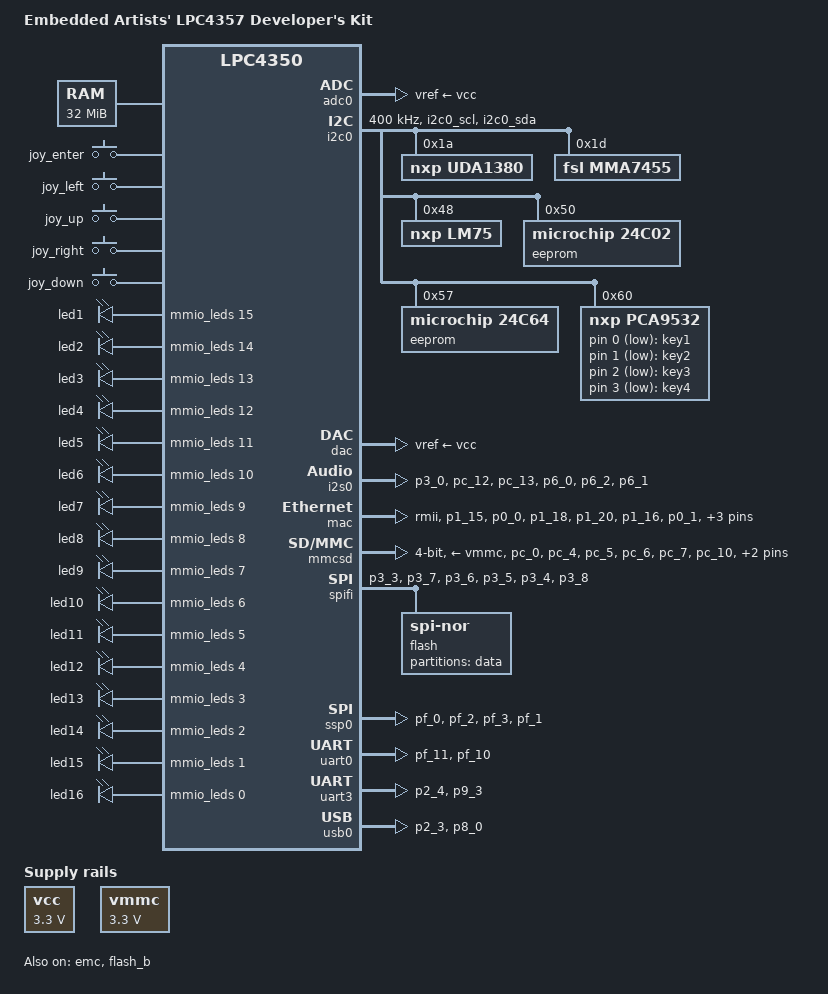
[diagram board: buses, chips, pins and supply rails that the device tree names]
/*
 * Embedded Artist LPC4357 Developer's Kit
 *
 * Copyright 2015 Joachim Eastwood <manabian@gmail.com>
 *
 * This code is released using a dual license strategy: BSD/GPL
 * You can choose the licence that better fits your requirements.
 *
 * Released under the terms of 3-clause BSD License
 * Released under the terms of GNU General Public License Version 2.0
 *
 */
/dts-v1/;

#include "lpc18xx.dtsi"
#include "lpc4357.dtsi"

#include "dt-bindings/input/input.h"
#include "dt-bindings/interrupt-controller/irq.h"
#include "dt-bindings/gpio/gpio.h"
#include "dt-bindings/leds/leds-pca9532.h"

/ {
	model = "Embedded Artists' LPC4357 Developer's Kit";
	compatible = "ea,lpc4357-developers-kit", "nxp,lpc4357", "nxp,lpc4350";

	aliases {
		serial0 = &uart0;
		serial1 = &uart1;
		serial2 = &uart2;
		serial3 = &uart3;
	};

	chosen {
		bootargs = "console=ttyS0,115200 earlyprintk initrd=0x28d00000,2M root=/dev/ram0 init=/linuxrc";
		stdout-path = &uart0;
	};

	memory@28000000 {
		device_type = "memory";
		reg = <0x28000000 0x2000000>; /* 32 MB */
	};

	vcc: vcc_fixed {
		compatible = "regulator-fixed";
		regulator-name = "3v3-supply";
		regulator-min-microvolt = <3300000>;
		regulator-max-microvolt = <3300000>;
	};

	/* vmmc is controlled by sdmmc host internally */
	vmmc: vmmc_fixed {
		compatible = "regulator-fixed";
		regulator-name = "vmmc-supply";
		regulator-min-microvolt = <3300000>;
		regulator-max-microvolt = <3300000>;
	};

	gpio_keys {
		compatible = "gpio-keys-polled";
		#address-cells = <1>;
		#size-cells = <0>;
		poll-interval = <100>;
		autorepeat;

		key1 {
			label = "key1";
			linux,code = <KEY_1>;
			gpios = <&pca9532 0 GPIO_ACTIVE_LOW>;
		};

		key2 {
			label = "key2";
			linux,code = <KEY_2>;
			gpios = <&pca9532 1 GPIO_ACTIVE_LOW>;
		};

		key3 {
			label = "key3";
			linux,code = <KEY_3>;
			gpios = <&pca9532 2 GPIO_ACTIVE_LOW>;
		};

		key4 {
			label = "key4";
			linux,code = <KEY_4>;
			gpios = <&pca9532 3 GPIO_ACTIVE_LOW>;
		};
	};

	gpio_joystick {
		compatible = "gpio-keys";
		pinctrl-names = "default";
		pinctrl-0 = <&gpio_joystick_pins>;
		poll-interval = <100>;
		autorepeat;

		button0 {
			label = "joy_enter";
			linux,code = <KEY_ENTER>;
/*			gpios = <&gpio LPC_GPIO(4,8) GPIO_ACTIVE_LOW>;*/
			interrupt-parent = <&nvic>;
			interrupts = <34 IRQ_TYPE_EDGE_FALLING>;
		};

		button1 {
			label = "joy_left";
			linux,code = <KEY_LEFT>;
/*			gpios = <&gpio LPC_GPIO(4,9) GPIO_ACTIVE_LOW>;*/
			interrupt-parent = <&nvic>;
			interrupts = <35 IRQ_TYPE_EDGE_FALLING>;
		};

		button2 {
			label = "joy_up";
			linux,code = <KEY_UP>;
/*			gpios = <&gpio LPC_GPIO(4,10) GPIO_ACTIVE_LOW>;*/
			interrupt-parent = <&nvic>;
			interrupts = <36 IRQ_TYPE_EDGE_FALLING>;
		};

		button3 {
			label = "joy_right";
			linux,code = <KEY_RIGHT>;
/*			gpios = <&gpio LPC_GPIO(4,12) GPIO_ACTIVE_LOW>;*/
			interrupt-parent = <&nvic>;
			interrupts = <32 IRQ_TYPE_EDGE_FALLING>;
		};

		button4 {
			label = "joy_down";
			linux,code = <KEY_DOWN>;
/*			gpios = <&gpio LPC_GPIO(4,13) GPIO_ACTIVE_LOW>;*/
			interrupt-parent = <&nvic>;
			interrupts = <33 IRQ_TYPE_EDGE_FALLING>;
		};
	};

	leds_mmio {
		compatible = "gpio-leds";

		led1 {
			gpios = <&mmio_leds 15 GPIO_ACTIVE_HIGH>;
			linux,default-trigger = "heartbeat";
		};

		led2 {
			gpios = <&mmio_leds 14 GPIO_ACTIVE_HIGH>;
		};

		led3 {
			gpios = <&mmio_leds 13 GPIO_ACTIVE_HIGH>;
		};

		led4 {
			gpios = <&mmio_leds 12 GPIO_ACTIVE_HIGH>;
		};

		led5 {
			gpios = <&mmio_leds 11 GPIO_ACTIVE_HIGH>;
		};

		led6 {
			gpios = <&mmio_leds 10 GPIO_ACTIVE_HIGH>;
		};

		led7 {
			gpios = <&mmio_leds 9 GPIO_ACTIVE_HIGH>;
		};

		led8 {
			gpios = <&mmio_leds 8 GPIO_ACTIVE_HIGH>;
		};

		led9 {
			gpios = <&mmio_leds 7 GPIO_ACTIVE_HIGH>;
		};

		led10 {
			gpios = <&mmio_leds 6 GPIO_ACTIVE_HIGH>;
		};

		led11 {
			gpios = <&mmio_leds 5 GPIO_ACTIVE_HIGH>;
		};

		led12 {
			gpios = <&mmio_leds 4 GPIO_ACTIVE_HIGH>;
		};

		led13 {
			gpios = <&mmio_leds 3 GPIO_ACTIVE_HIGH>;
		};

		led14 {
			gpios = <&mmio_leds 2 GPIO_ACTIVE_HIGH>;
		};

		led15 {
			gpios = <&mmio_leds 1 GPIO_ACTIVE_HIGH>;
		};

		led16 {
			gpios = <&mmio_leds 0 GPIO_ACTIVE_HIGH>;
		};
	};
};

&pinctrl {
	emc_pins: emc-pins {
		emc_addr0_23_cfg {
			pins =	"p2_9",  "p2_10", "p2_11", "p2_12",
				"p2_13", "p1_0",  "p1_1",  "p1_2",
				"p2_8",  "p2_7",  "p2_6",  "p2_2",
				"p2_1",  "p2_0",  "p6_8",  "p6_7",
				"pd_16", "pd_15", "pe_0",  "pe_1",
				"pe_2",  "pe_3",  "pe_4",  "pa_4";
			function = "emc";
			slew-rate = <1>;
			bias-disable;
			input-enable;
			input-schmitt-disable;
		};

		emc_data0_31_cfg {
			pins =	"p1_7",  "p1_8",  "p1_9",  "p1_10",
				"p1_11", "p1_12", "p1_13", "p1_14",
				"p5_4",  "p5_5",  "p5_6",  "p5_7",
				"p5_0",  "p5_1",  "p5_2",  "p5_3",
				"pd_2",  "pd_3",  "pd_4",  "pd_5",
				"pd_6",  "pd_7",  "pd_8",  "pd_9",
				"pe_5",  "pe_6",  "pe_7",  "pe_8",
				"pe_9",  "pe_10", "pe_11", "pe_12";
			function = "emc";
			slew-rate = <1>;
			bias-disable;
			input-enable;
			input-schmitt-disable;
		};

		emc_we_oe_cfg {
			pins = "p1_6", "p1_3";
			function = "emc";
			slew-rate = <1>;
			bias-disable;
			input-enable;
			input-schmitt-disable;
		};

		emc_bls0_3_cfg {
			pins = "p1_4", "p6_6", "pd_13", "pd_10";
			function = "emc";
			slew-rate = <1>;
			bias-disable;
			input-enable;
			input-schmitt-disable;
		};

		emc_cs0_3_cfg {
			pins = "p1_5", "p6_3", "pd_12", "pd_11";
			function = "emc";
			slew-rate = <1>;
			bias-disable;
			input-enable;
			input-schmitt-disable;
		};

		emc_sdram_dqm0_3_cfg {
			pins = "p6_12", "p6_10", "pd_0", "pe_13";
			function = "emc";
			slew-rate = <1>;
			bias-disable;
			input-enable;
			input-schmitt-disable;
		};

		emc_sdram_ras_cas_cfg {
			pins = "p6_5", "p6_4";
			function = "emc";
			slew-rate = <1>;
			bias-disable;
			input-enable;
			input-schmitt-disable;
		};

		emc_sdram_dycs0_cfg {
			pins = "p6_9";
			function = "emc";
			slew-rate = <1>;
			bias-disable;
			input-enable;
			input-schmitt-disable;
		};

		emc_sdram_cke_cfg {
			pins = "p6_11";
			function = "emc";
			slew-rate = <1>;
			bias-disable;
			input-enable;
			input-schmitt-disable;
		};

		emc_sdram_clock_cfg {
			pins = "clk0", "clk1", "clk2", "clk3";
			function = "emc";
			slew-rate = <1>;
			bias-disable;
			input-enable;
			input-schmitt-disable;
		};
	};

	enet_rmii_pins: enet-rmii-pins {
		enet_rmii_rxd_cfg {
			pins = "p1_15", "p0_0";
			function = "enet";
			slew-rate = <1>;
			bias-disable;
			input-enable;
			input-schmitt-disable;
		};

		enet_rmii_txd_cfg {
			pins = "p1_18", "p1_20";
			function = "enet";
			slew-rate = <1>;
			bias-disable;
			input-enable;
			input-schmitt-disable;
		};

		enet_rmii_rx_dv_cfg {
			pins = "p1_16";
			function = "enet";
			bias-disable;
			input-enable;
			input-schmitt-disable;
		};

		enet_rmii_tx_en_cfg {
			pins = "p0_1";
			function = "enet";
			bias-disable;
			input-enable;
			input-schmitt-disable;
		};

		enet_ref_clk_cfg {
			pins = "p1_19";
			function = "enet";
			slew-rate = <1>;
			bias-disable;
			input-enable;
			input-schmitt-disable;
		};

		enet_mdio_cfg {
			pins = "p1_17";
			function = "enet";
			bias-disable;
			input-enable;
			input-schmitt-disable;
		};

		enet_mdc_cfg {
			pins = "pc_1";
			function = "enet";
			slew-rate = <1>;
			bias-disable;
			input-enable;
			input-schmitt-disable;
		};
	};

	gpio_joystick_pins: gpio-joystick-pins {
		gpio_joystick_1_cfg {
			pins =	"p9_0";
			function = "gpio";
			nxp,gpio-pin-interrupt = <0>;
			input-enable;
			bias-disable;
		};

		gpio_joystick_2_cfg {
			pins =	"p9_1";
			function = "gpio";
			nxp,gpio-pin-interrupt = <1>;
			input-enable;
			bias-disable;
		};

		gpio_joystick_3_cfg {
			pins =	"pa_1";
			function = "gpio";
			nxp,gpio-pin-interrupt = <2>;
			input-enable;
			bias-disable;
		};

		gpio_joystick_4_cfg {
			pins =	"pa_2";
			function = "gpio";
			nxp,gpio-pin-interrupt = <3>;
			input-enable;
			bias-disable;
		};

		gpio_joystick_5_cfg {
			pins =	"pa_3";
			function = "gpio";
			nxp,gpio-pin-interrupt = <4>;
			input-enable;
			bias-disable;
		};
	};

	i2c0_pins: i2c0-pins {
		i2c0_pins_cfg {
			pins = "i2c0_scl", "i2c0_sda";
			function = "i2c0";
			input-enable;
		};
	};

	i2s0_pins: i2s0-pins {
		i2s0_tx_sck_cfg {
			pins = "p3_0";
			function = "i2s0_tx_sck";
			slew-rate = <1>;
			bias-pull-down;
			input-enable;
			input-schmitt-disable;
		};

		i2s0_tx_sda_cfg {
			pins = "pc_12";
			function = "i2s0_tx_sda";
			slew-rate = <1>;
			bias-pull-down;
			input-enable;
			input-schmitt-disable;
		};

		i2s0_tx_ws_cfg {
			pins = "pc_13";
			function = "i2s0_tx_ws";
			slew-rate = <1>;
			bias-pull-down;
			input-enable;
			input-schmitt-disable;
		};

		i2s0_rx_sck_cfg {
			pins = "p6_0";
			function = "i2s0_rx_sck";
			slew-rate = <1>;
			bias-pull-down;
			input-enable;
			input-schmitt-disable;
		};

		i2s0_rx_sda_cfg {
			pins = "p6_2";
			function = "i2s0_rx_sda";
			slew-rate = <1>;
			bias-pull-down;
			input-enable;
			input-schmitt-disable;
		};

		i2s0_rx_ws_cfg {
			pins = "p6_1";
			function = "i2s0_rx_ws";
			slew-rate = <1>;
			bias-pull-down;
			input-enable;
			input-schmitt-disable;
		};
	};

	sdmmc_pins: sdmmc-pins {
		sdmmc_clk_cfg {
			pins = "pc_0";
			function = "sdmmc";
			slew-rate = <1>;
			bias-pull-down;
		};

		sdmmc_cmd_dat0_3_cfg {
			pins = "pc_4", "pc_5", "pc_6", "pc_7", "pc_10";
			function = "sdmmc";
			slew-rate = <1>;
			bias-disable;
			input-enable;
			input-schmitt-disable;
		};

		sdmmc_cd_cfg {
			pins = "pc_8";
			function = "sdmmc";
			bias-pull-down;
			input-enable;
		};

		sdmmc_pow_cfg {
			pins = "pc_9";
			function = "sdmmc";
			bias-pull-down;
		};
	};

	spifi_pins: spifi-pins {
		spifi_clk_cfg {
			pins = "p3_3";
			function = "spifi";
			slew-rate = <1>;
			bias-disable;
			input-enable;
			input-schmitt-disable;
		};

		spifi_mosi_miso_sio2_3_cfg {
			pins = "p3_7", "p3_6", "p3_5", "p3_4";
			function = "spifi";
			slew-rate = <0>;
			bias-disable;
			input-enable;
			input-schmitt-disable;
		};

		spifi_cs_cfg {
			pins = "p3_8";
			function = "spifi";
			bias-disable;
		};
	};

	ssp0_pins: ssp0-pins {
		ssp0_sck_miso_mosi {
			pins = "pf_0", "pf_2", "pf_3";
			function = "ssp0";
			slew-rate = <1>;
			bias-pull-down;
			input-enable;
			input-schmitt-disable;
		};

		ssp0_ssel {
			pins = "pf_1";
			function = "ssp0";
			bias-pull-up;
		};
	};

	uart0_pins: uart0-pins {
		uart0_rx_cfg {
			pins = "pf_11";
			function = "uart0";
			input-schmitt-disable;
			bias-disable;
			input-enable;
		};

		uart0_tx_cfg {
			pins = "pf_10";
			function = "uart0";
			bias-pull-down;
		};
	};

	uart3_pins: uart3-pins {
		uart3_rx_cfg {
			pins = "p2_4";
			function = "uart3";
			input-schmitt-disable;
			bias-disable;
			input-enable;
		};

		uart3_tx_cfg {
			pins = "p9_3";
			function = "uart3";
			bias-pull-down;
		};
	};

	usb0_pins: usb0-pins {
		usb0_pwr_enable {
			pins = "p2_3";
			function = "usb0";
		};

		usb0_pwr_fault {
			pins = "p8_0";
			function = "usb0";
			bias-disable;
			input-enable;
		};
	};
};

&adc0 {
	status = "okay";
	vref-supply = <&vcc>;
};

&i2c0 {
	status = "okay";
	pinctrl-names = "default";
	pinctrl-0 = <&i2c0_pins>;
	clock-frequency = <400000>;

	uda1380: uda1380@1a {
		compatible = "nxp,uda1380";
		reg = <0x1a>;
	};

	mma7455@1d {
		compatible = "fsl,mma7455";
		reg = <0x1d>;
	};

	lm75@48 {
		compatible = "nxp,lm75";
		reg = <0x48>;
	};

	eeprom@50 {
		/* microchip,24aa02e48 */
		compatible = "microchip,24c02";
		reg = <0x50>;
	};

	eeprom@57 {
		compatible = "microchip,24c64";
		reg = <0x57>;
	};

	pca9532: leds@60 {
		compatible = "nxp,pca9532";
		gpio-controller;
		reg = <0x60>;
		#address-cells = <1>;
		#size-cells = <0>;
		#gpio-cells = <2>;

		key1@0 {
			type = <PCA9532_TYPE_GPIO>;
			reg = <0>;
		};

		key2@1 {
			type = <PCA9532_TYPE_GPIO>;
			reg = <1>;
		};

		key3@2 {
			type = <PCA9532_TYPE_GPIO>;
			reg = <2>;
		};

		key4@3 {
			type = <PCA9532_TYPE_GPIO>;
			reg = <3>;
		};

		led1@8 {
			label = "led1:red";
			type = <PCA9532_TYPE_LED>;
			reg = <8>;
		};

		led2@9 {
			label = "led2:red";
			type = <PCA9532_TYPE_LED>;
			reg = <9>;
		};

		led3@10 {
			label = "led3:red";
			type = <PCA9532_TYPE_LED>;
			reg = <10>;
		};

		led4@11 {
			label = "led4:red";
			type = <PCA9532_TYPE_LED>;
			reg = <11>;
		};

		led5@12 {
			label = "led5:green";
			type = <PCA9532_TYPE_LED>;
			reg = <12>;
		};

		led6@13 {
			label = "led6:green";
			type = <PCA9532_TYPE_LED>;
			reg = <13>;
		};

		led7@14 {
			label = "led7:green";
			type = <PCA9532_TYPE_LED>;
			reg = <14>;
		};

		led8@15 {
			label = "led8:green";
			type = <PCA9532_TYPE_LED>;
			reg = <15>;
		};
	};
};

&dac {
	status = "okay";
	vref-supply = <&vcc>;
};

&emc {
	status = "okay";
	pinctrl-names = "default";
	pinctrl-0 = <&emc_pins>;

	cs0 {
		#address-cells = <2>;
		#size-cells = <1>;
		ranges;

		mpmc,cs = <0>;
		mpmc,memory-width = <16>;
		mpmc,byte-lane-low;
		mpmc,write-enable-delay = <0>;
		mpmc,output-enable-delay = <0>;
		mpmc,read-access-delay = <70>;
		mpmc,page-mode-read-delay = <70>;

		flash@0,0 {
			compatible = "sst,sst39vf320", "cfi-flash";
			reg = <0 0 0x400000>;
			bank-width = <2>;
			#address-cells = <1>;
			#size-cells = <1>;

			partition@0 {
				label = "bootloader";
				reg = <0x000000 0x040000>; /* 256 KiB */
			};

			partition@1 {
				label = "kernel";
				reg = <0x040000 0x2c0000>; /* 2.75 MiB */
			};

			partition@2 {
				label = "rootfs";
				reg = <0x300000 0x100000>; /* 1 MiB */
			};
		};
	};

	cs1 {
		#address-cells = <2>;
		#size-cells = <1>;
		ranges;

		mpmc,cs = <1>;
		mpmc,memory-width = <8>;
		mpmc,byte-lane-low;
		mpmc,write-enable-delay = <30>;
		mpmc,write-access-delay = <20>;
		mpmc,output-enable-delay = <20>;
		mpmc,read-access-delay = <90>;
		mpmc,turn-round-delay = <150>;

		flash@0,0 {
			compatible = "onfi,nand";
			reg = <1 0 0x200000>;
			bank-width = <2>;
			#address-cells = <1>;
			#size-cells = <1>;

			nand-on-flash-bbt;
			nand-ecc-mode = "soft";
			nand-ale-mask = <0x080000>;
			nand-cle-mask = <0x100000>;
			nand-chip-delay = <35>;

			partition@0 {
				label = "bootloader";
				reg = <0x000000 0x0020000>; /* 128 KiB */
			};

			partition@1 {
				label = "kernel";
				reg = <0x020000 0x02e0000>; /* 2.875 MiB */
			};

			partition@2 {
				label = "rootfs";
				reg = <0x300000 0x7d00000>; /* 125 MiB */
			};
		};
	};

	cs2 {
		#address-cells = <2>;
		#size-cells = <1>;
		ranges;

		mpmc,cs = <2>;
		mpmc,memory-width = <16>;

		mmio_leds: gpio@2,0 {
			compatible = "ti,7416374";
			reg = <2 0 0x2>;
			gpio-controller;
			#gpio-cells = <2>;
		};

	};
};

&enet_tx_clk {
	clock-frequency = <50000000>;
};

&flash_b {
	status = "okay";

	partition@0 {
		label = "data";
		reg = <0 0x80000>;
	};
};

&i2s0 {
	status = "okay";
	pinctrl-names = "default";
	pinctrl-0 = <&i2s0_pins>;
};

&mac {
	status = "okay";
	phy-mode = "rmii";
	pinctrl-names = "default";
	pinctrl-0 = <&enet_rmii_pins>;
};

&mmcsd {
	status = "okay";
	bus-width = <4>;
	vmmc-supply = <&vmmc>;
	pinctrl-names = "default";
	pinctrl-0 = <&sdmmc_pins>;
};

&spifi {
	status = "okay";
	pinctrl-names = "default";
	pinctrl-0 = <&spifi_pins>;

	flash {
		compatible = "jedec,spi-nor";
		spi-cpol;
		spi-cpha;
		spi-rx-bus-width = <4>;
		#address-cells = <1>;
		#size-cells = <1>;

		partition@0 {
			label = "data";
			reg = <0 0x200000>;
		};
	};
};

&ssp0 {
	status = "okay";
	pinctrl-names = "default";
	pinctrl-0 = <&ssp0_pins>;
	num-cs = <1>;
};

&uart0 {
	status = "okay";
	pinctrl-names = "default";
	pinctrl-0 = <&uart0_pins>;
};

&uart3 {
	status = "okay";
	pinctrl-names = "default";
	pinctrl-0 = <&uart3_pins>;
};

&usb0 {
	status = "okay";
	pinctrl-names = "default";
	pinctrl-0 = <&usb0_pins>;
};
